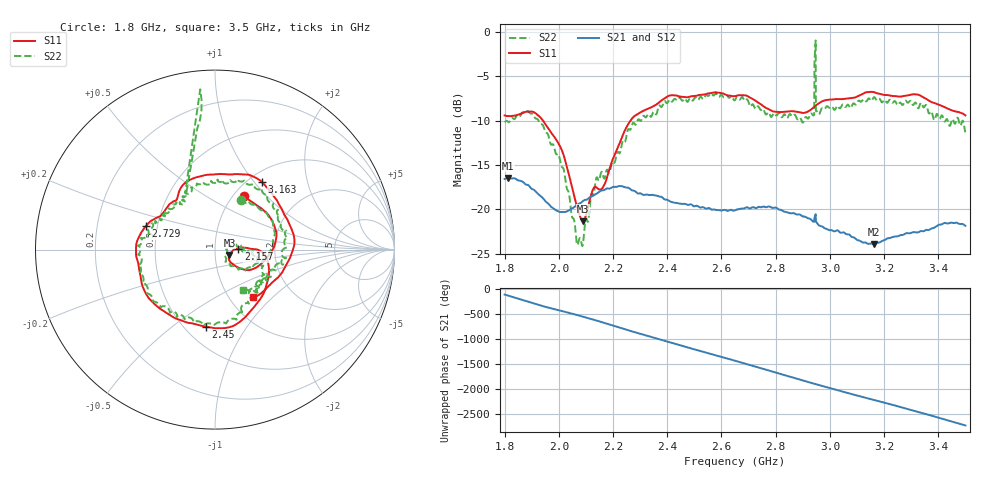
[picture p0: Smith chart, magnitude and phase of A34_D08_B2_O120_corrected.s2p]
! Created with skrf 1.9.0 (http://scikit-rf.org).
# Hz S RI R 50.0
!freq ReS11 ImS11 ReS21 ImS21 ReS12 ImS12 ReS22 ImS22
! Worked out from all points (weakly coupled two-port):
!   1601 points, 1.8 GHz to 3.5 GHz, reference 50 ohm
!   highest |S21| = -16.47 dB at 1.812 GHz (marker M1); lowest = -23.9 dB at 3.161 GHz (marker M2)
!   lowest |S11| = -21.3 dB at 2.09 GHz (marker M3), VSWR 1.19, Z = 58.6 - j3.61 ohm
!   |S11| at or under -10 dB: 1.942 GHz to 2.264 GHz (322.1 MHz wide, 15.3 % of centre)
!   |S22| runs from -24.2 to -0.9 dB; largest |S21 - S12| = 0.0029
!   S11 on the Smith chart (normalised r, x): 1.8 GHz: 1.12, +0.75; 2.157 GHz: 1.30, +0.01; 2.45 GHz: 0.63, -0.67; 2.729 GHz: 0.43, +0.13; 3.163 GHz: 1.16, +1.10; 3.5 GHz: 1.27, -0.77
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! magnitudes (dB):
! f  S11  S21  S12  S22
! 1.8 GHz  -9.4  -16.6  -16.6  -10.2
! 1.812 GHz  -9.5  -16.5  -16.5  -10.1
! 1.886 GHz  -9.0  -17.3  -17.3  -8.9
! 1.941 GHz  -10.0  -18.7  -18.7  -10.5
! 2.011 GHz  -13.3  -20.3  -20.3  -15.2
! 2.066 GHz  -19.5  -19.5  -19.5  -23.7
! 2.084 GHz  -21.2  -19.2  -19.2  -23.8
! 2.09 GHz  -21.3  -19.0  -19.1  -23.7
! 2.127 GHz  -17.7  -18.5  -18.4  -18.4
! 2.157 GHz  -17.7  -17.9  -17.9  -15.8
! 2.261 GHz  -10.1  -17.6  -17.7  -11.0
! 2.367 GHz  -8.0  -18.5  -18.5  -8.5
! 2.45 GHz  -7.3  -19.4  -19.4  -7.5
! 2.65 GHz  -7.2  -20.1  -20.1  -7.7
! 2.729 GHz  -7.8  -19.8  -19.9  -8.6
! 2.934 GHz  -8.7  -21.2  -21.2  -9.2
! 2.949 GHz  -8.3  -21.4  -21.5  -8.9
! 2.957 GHz  -8.1  -21.7  -21.7  -9.2
! 3.161 GHz  -6.8  -23.9  -23.8  -7.4
! 3.163 GHz  -6.8  -23.9  -23.8  -7.3
! 3.217 GHz  -7.1  -23.2  -23.2  -7.7
! 3.5 GHz  -9.4  -21.8  -21.8  -11.3
